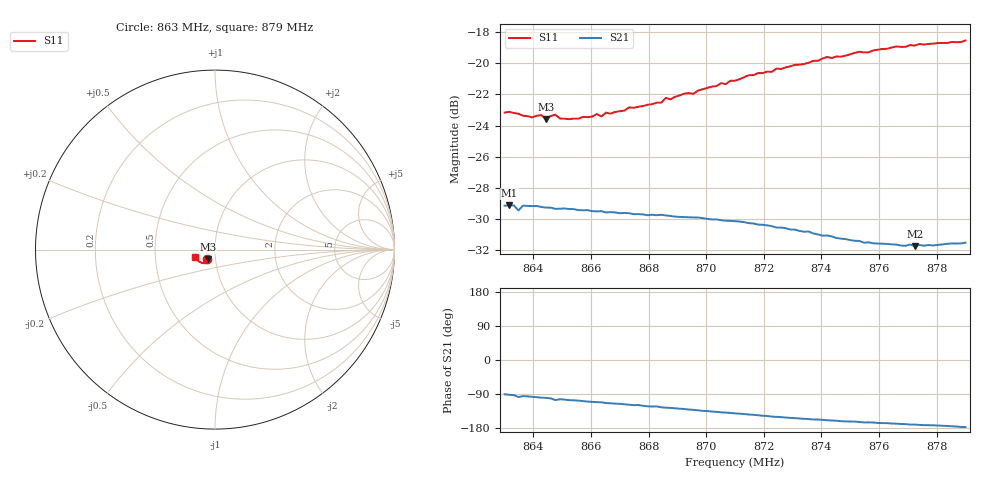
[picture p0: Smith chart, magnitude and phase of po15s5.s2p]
# HZ S RI R 50
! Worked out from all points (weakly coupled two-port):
!   101 points, 863 MHz to 879 MHz, reference 50 ohm
!   highest |S21| = -29.11 dB at 863.16 MHz (marker M1); lowest = -31.7 dB at 877.24 MHz (marker M2)
!   lowest |S11| = -23.6 dB at 864.44 MHz (marker M3), VSWR 1.14, Z = 46 - j4.95 ohm
!   |S11| at or under -10 dB: start of sweep to end of sweep
!   S12 and S22 are empty: the file has one direction only
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8.63e8  -0.0435 -0.0541  -0.000247 -0.0349  0 0  0 0
8.6316e8  -0.0437 -0.0545  -0.00113 -0.035  0 0  0 0
8.6332e8  -0.0431 -0.0542  -0.00165 -0.0349  0 0  0 0
8.6348e8  -0.0429 -0.0539  -0.00459 -0.0334  0 0  0 0
8.6364e8  -0.0414 -0.0538  -0.0032 -0.0348  0 0  0 0
8.6428e8  -0.0387 -0.0561  -0.00564 -0.0341  0 0  0 0
8.6444e8  -0.0388 -0.0535  -0.00594 -0.0339  0 0  0 0
8.6476e8  -0.0375 -0.0572  -0.00921 -0.0329  0 0  0 0
8.6492e8  -0.0367 -0.0554  -0.00805 -0.0332  0 0  0 0
8.6572e8  -0.0342 -0.0579  -0.0106 -0.032  0 0  0 0
8.662e8  -0.035 -0.0591  -0.0121 -0.0312  0 0  0 0
8.6636e8  -0.0344 -0.0581  -0.0123 -0.0312  0 0  0 0
8.6652e8  -0.0349 -0.06  -0.0133 -0.0304  0 0  0 0
8.6844e8  -0.036 -0.0656  -0.0187 -0.0268  0 0  0 0
8.686e8  -0.0379 -0.0675  -0.019 -0.0264  0 0  0 0
8.6956e8  -0.0401 -0.069  -0.0213 -0.0239  0 0  0 0
8.71e8  -0.0478 -0.0737  -0.0242 -0.0196  0 0  0 0
8.7372e8  -0.0688 -0.075  -0.0262 -0.0112  0 0  0 0
8.7548e8  -0.0835 -0.0689  -0.0256 -0.00702  0 0  0 0
8.7644e8  -0.0933 -0.0625  -0.0256 -0.00564  0 0  0 0
8.7724e8  -0.0993 -0.0559  -0.0255 -0.00434  0 0  0 0
8.79e8  -0.1113 -0.0401  -0.0265 -0.00143  0 0  0 0
